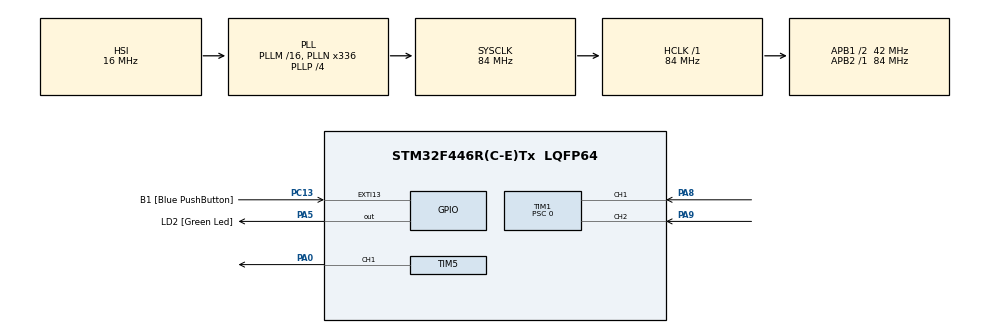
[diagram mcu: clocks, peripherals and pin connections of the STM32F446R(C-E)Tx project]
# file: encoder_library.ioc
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Mcu.Family=STM32F4
Mcu.Name=STM32F446R(C-E)Tx
Mcu.Package=LQFP64
NVIC.PriorityGroup=NVIC_PRIORITYGROUP_0
NVIC.TIM2_IRQn=true\:0\:0\:false\:false\:true\:true\:true\:true
PA0-WKUP.Signal=S_TIM5_CH1
PA13.GPIO_Label=TMS
PA13.Mode=Serial_Wire
PA13.Signal=SYS_JTMS-SWDIO
PA14.GPIO_Label=TCK
PA14.Mode=Serial_Wire
PA14.Signal=SYS_JTCK-SWCLK
PA5.GPIO_Label=LD2 [Green Led]
PA5.Signal=GPIO_Output
PA8.GPIO_PuPd=GPIO_PULLUP
PA8.Signal=S_TIM1_CH1
PA9.GPIO_PuPd=GPIO_PULLUP
PA9.Signal=S_TIM1_CH2
PB3.GPIO_Label=SWO
PB3.Signal=SYS_JTDO-SWO
PC13.GPIO_Label=B1 [Blue PushButton]
PC13.GPIO_ModeDefaultEXTI=GPIO_MODE_IT_FALLING
PC13.Signal=GPXTI13
PC14-OSC32_IN.Mode=LSE-External-Oscillator
PC14-OSC32_IN.Signal=RCC_OSC32_IN
PC15-OSC32_OUT.Mode=LSE-External-Oscillator
PC15-OSC32_OUT.Signal=RCC_OSC32_OUT
PH0-OSC_IN.Mode=HSE-External-Oscillator
PH0-OSC_IN.Signal=RCC_OSC_IN
PH1-OSC_OUT.Mode=HSE-External-Oscillator
PH1-OSC_OUT.Signal=RCC_OSC_OUT
ProjectManager.HeapSize=0x200
ProjectManager.StackSize=0x400
ProjectManager.TargetToolchain=STM32CubeIDE
RCC.AHBFreq_Value=84000000
RCC.APB1CLKDivider=RCC_HCLK_DIV2
RCC.APB1Freq_Value=42000000
RCC.APB1TimFreq_Value=84000000
RCC.APB2Freq_Value=84000000
RCC.APB2TimFreq_Value=84000000
RCC.CortexFreq_Value=84000000
RCC.FLatency-AdvancedSettings=FLASH_LATENCY_2
RCC.HCLKFreq_Value=84000000
RCC.HSE_VALUE=8000000
RCC.HSI_VALUE=16000000
RCC.PLLN=336
RCC.PLLP=RCC_PLLP_DIV4
RCC.SYSCLKFreq_VALUE=84000000
RCC.SYSCLKSource=RCC_SYSCLKSOURCE_PLLCLK
RCC.USBFreq_Value=168000000
RCC.VCOOutputFreq_Value=336000000
SH.S_TIM1_CH1.0=TIM1_CH1,Encoder_Interface
SH.S_TIM1_CH2.0=TIM1_CH2,Encoder_Interface
SH.S_TIM5_CH1.0=TIM5_CH1,PWM Generation1 CH1
TIM1.AutoReloadPreload=TIM_AUTORELOAD_PRELOAD_ENABLE
TIM1.EncoderMode=TIM_ENCODERMODE_TI12
TIM1.IC1Filter=0
TIM1.IC2Filter=15
TIM1.Period=65535
TIM1.Prescaler=0
TIM2.AutoReloadPreload=TIM_AUTORELOAD_PRELOAD_ENABLE
TIM2.Period=420000-1
TIM5.Channel-PWM\ Generation1\ CH1=TIM_CHANNEL_1
TIM5.Period=4199
VP_TIM2_VS_ClockSourceINT.Mode=Internal
board=NUCLEO-F446RE

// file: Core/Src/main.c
/* USER CODE BEGIN Header */
/**
 ******************************************************************************
 * @file           : main.c
 * @brief          : Main program body
 ******************************************************************************
 * @attention
 *
 * Copyright (c) 2024 STMicroelectronics.
 * All rights reserved.
 *
 * This software is licensed under terms that can be found in the LICENSE file
 * in the root directory of this software component.
 * If no LICENSE file comes with this software, it is provided AS-IS.
 *
 ******************************************************************************
 */
/* USER CODE END Header */
#include "main.h"
#include "tim.h"
#include "gpio.h"

/* USER CODE BEGIN Includes */
#include "encoder.h"
#include <stdint.h>
#include "nidec_h24.h"
#include "pid.h"
#include <math.h>
/* USER CODE END Includes */

/* USER CODE BEGIN PV */
float rpm;
encoder_t enc;
PID_t pid;
float Kp = 1;
float Ki = 0;
float Kd = 0;

float pwm;

float set_point = 0;
float max_pwm = 100;

float sigA; //sine
float amp = 200;
float factor_freq = 500;

float sigB; //ramp
float sigC = 480; //step
/* USER CODE END PV */

void SystemClock_Config(void);

int main(void) {

	/* MCU Configuration--------------------------------------------------------*/

	/* Reset of all peripherals, Initializes the Flash interface and the Systick. */
	HAL_Init();

	/* Configure the system clock */
	SystemClock_Config();

	/* Initialize all configured peripherals */
	MX_GPIO_Init();
	MX_TIM1_Init();
	MX_TIM2_Init();
	MX_TIM5_Init();
	/* USER CODE BEGIN 2 */
	pid_init(&pid, Kp, Ki, Kd, -max_pwm, max_pwm);
	pid_set_setpoint(&pid, set_point);
	nidec_h24_init();
	encoder_init(&enc, AB, &htim1, 100);
	HAL_TIM_Base_Start_IT(&htim2);
	/* USER CODE END 2 */

	/* Infinite loop */
	/* USER CODE BEGIN WHILE */
	while (1) {
		HAL_Delay(1);
		/* USER CODE END WHILE */

	}
}

void SystemClock_Config(void) {
	RCC_OscInitTypeDef RCC_OscInitStruct = { 0 };
	RCC_ClkInitTypeDef RCC_ClkInitStruct = { 0 };

	/** Configure the main internal regulator output voltage
	 */
	__HAL_RCC_PWR_CLK_ENABLE();
	__HAL_PWR_VOLTAGESCALING_CONFIG(PWR_REGULATOR_VOLTAGE_SCALE3);

	/** Initializes the RCC Oscillators according to the specified parameters
	 * in the RCC_OscInitTypeDef structure.
	 */
	RCC_OscInitStruct.OscillatorType = RCC_OSCILLATORTYPE_HSI;
	RCC_OscInitStruct.HSIState = RCC_HSI_ON;
	RCC_OscInitStruct.HSICalibrationValue = RCC_HSICALIBRATION_DEFAULT;
	RCC_OscInitStruct.PLL.PLLState = RCC_PLL_ON;
	RCC_OscInitStruct.PLL.PLLSource = RCC_PLLSOURCE_HSI;
	RCC_OscInitStruct.PLL.PLLM = 16;
	RCC_OscInitStruct.PLL.PLLN = 336;
	RCC_OscInitStruct.PLL.PLLP = RCC_PLLP_DIV4;
	RCC_OscInitStruct.PLL.PLLQ = 2;
	RCC_OscInitStruct.PLL.PLLR = 2;
	if (HAL_RCC_OscConfig(&RCC_OscInitStruct) != HAL_OK) {
		Error_Handler();
	}

	/** Initializes the CPU, AHB and APB buses clocks
	 */
	RCC_ClkInitStruct.ClockType = RCC_CLOCKTYPE_HCLK | RCC_CLOCKTYPE_SYSCLK
			| RCC_CLOCKTYPE_PCLK1 | RCC_CLOCKTYPE_PCLK2;
	RCC_ClkInitStruct.SYSCLKSource = RCC_SYSCLKSOURCE_PLLCLK;
	RCC_ClkInitStruct.AHBCLKDivider = RCC_SYSCLK_DIV1;
	RCC_ClkInitStruct.APB1CLKDivider = RCC_HCLK_DIV2;
	RCC_ClkInitStruct.APB2CLKDivider = RCC_HCLK_DIV1;

	if (HAL_RCC_ClockConfig(&RCC_ClkInitStruct, FLASH_LATENCY_2) != HAL_OK) {
		Error_Handler();
	}
}

/* USER CODE BEGIN 4 */
void HAL_TIM_PeriodElapsedCallback(TIM_HandleTypeDef *htim) {
	if (htim->Instance == TIM2) {
		rpm = encoder_get_velocity_rpm(&enc);
		sigA = amp * sinf(2 * M_PI * HAL_GetTick() / factor_freq);
		pid_set_setpoint(&pid, sigA);
		pwm = pid_compute_control_action(&pid, rpm);
		nidec_h24_Move(pwm, 1);
	}
}
/* USER CODE END 4 */

void Error_Handler(void) {
	__disable_irq();
	while (1) {
	}
}
